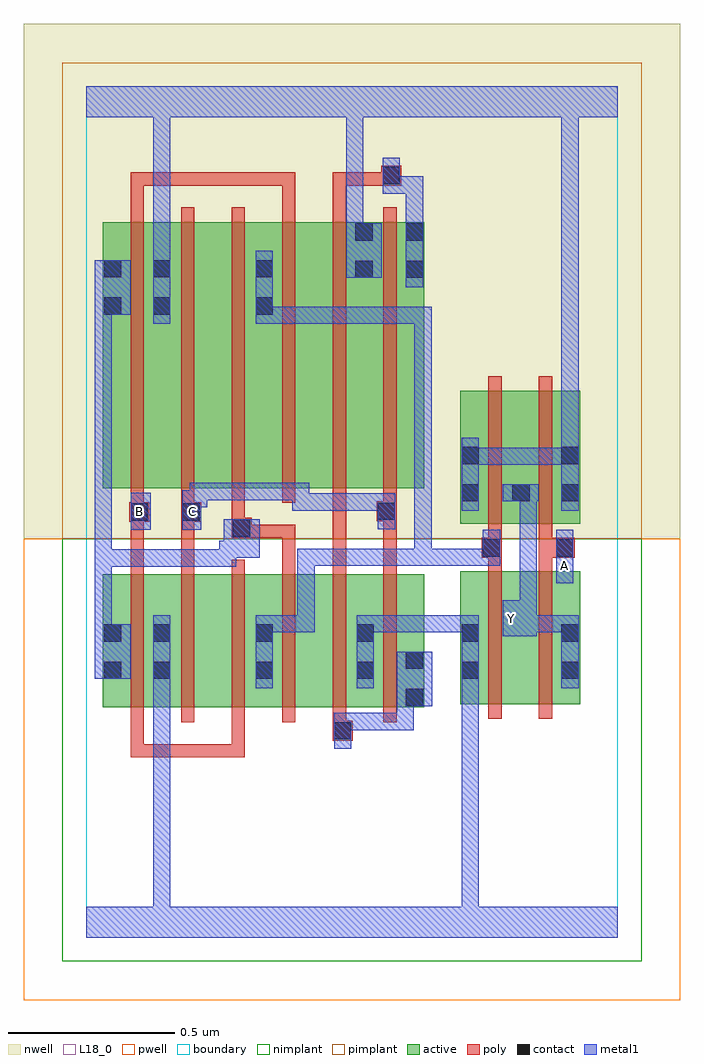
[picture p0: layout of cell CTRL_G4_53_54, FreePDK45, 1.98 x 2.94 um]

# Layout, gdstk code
import gdstk
lib = gdstk.Library(unit=1e-6, precision=1e-09)
def R(c, l, rs):  # rectangles x0, y0, x1, y1
    for r in rs: c.add(gdstk.rectangle(r[:2], r[2:], *l))
def A(c, l, x, y, w, h, nx, ny, dx, dy):  # array of equal rectangles
    R(c, l, [(x+i*dx, y+j*dy, x+i*dx+w, y+j*dy+h) for i in range(nx) for j in range(ny)])
active = (1, 0)
pwell = (2, 0)
nwell = (3, 0)
nimplant = (4, 0)
pimplant = (5, 0)
poly = (9, 0)
contact = (10, 0)
metal1 = (11, 0)
L18_0 = (18, 0)
boundary = (235, 0)

ctrl_g4_53_54 = lib.new_cell('CTRL_G4_53_54')
R(ctrl_g4_53_54, active, [(0.05,0.692,0.11,1.092), (0.05,0.692,0.258,1.092), (0.198,0.692,0.382,1.092), (0.382,0.692,0.566,1.092), (0.506,0.692,0.686,1.092), (0.506,0.692,0.566,0.946), (0.686,0.692,0.87,1.092), (0.81,0.692,0.87,1.092), (0.81,0.692,1.018,1.092), (0.958,0.692,1.018,1.092), (1.126,0.702,1.306,1.102), (1.306,0.702,1.486,1.102), (0.198,0.756,0.258,0.946), (1.126,0.756,1.186,1.102), (1.426,0.756,1.486,1.102), (1.126,1.244,1.186,1.644), (1.126,1.244,1.338,1.644), (1.278,1.244,1.338,1.644), (1.278,1.244,1.486,1.644), (1.426,1.244,1.486,1.644), (0.05,1.352,0.258,2.152), (0.05,1.352,0.11,2.044), (0.198,1.352,0.258,2.152), (0.198,1.352,0.382,2.152), (0.382,1.352,0.566,2.152), (0.506,1.352,0.566,2.152), (0.506,1.352,0.686,2.152), (0.686,1.352,0.866,2.152), (0.806,1.352,0.866,2.152), (0.806,1.352,1.018,2.152), (0.958,1.352,1.018,2.152)])
R(ctrl_g4_53_54, pwell, [(-0.188,-0.188,1.788,1.2)])
R(ctrl_g4_53_54, nwell, [(-0.188,1.2,1.788,2.748)])
R(ctrl_g4_53_54, nimplant, [(-0.072,-0.072,1.672,1.2)])
R(ctrl_g4_53_54, pimplant, [(-0.072,1.2,1.672,2.632)])
A(ctrl_g4_53_54, poly, 0.134, 0.648, 0.04, 0.488, 6, 1, 0.152, 0)
A(ctrl_g4_53_54, poly, 0.134, 1.308, 0.04, 0.888, 6, 1, 0.152, 0)
R(ctrl_g4_53_54, poly, [(0.134,0.542,0.174,0.582), (0.134,0.542,0.174,0.582), (0.134,0.542,0.174,0.582), (0.134,0.542,0.174,0.688), (0.134,0.542,0.296,0.582), (0.256,0.542,0.296,0.582), (0.256,0.542,0.478,0.582), (0.438,0.542,0.478,0.582), (0.438,0.542,0.478,0.582), (0.438,0.542,0.478,0.582), (0.438,0.542,0.478,0.688), (0.742,0.592,0.802,0.652), (0.742,0.612,0.782,0.688), (1.21,0.658,1.25,1.146), (1.362,0.658,1.402,1.146), (0.134,1.096,0.174,1.29), (0.286,1.096,0.326,1.29), (0.59,1.096,0.63,1.242), (0.742,1.096,0.782,1.172), (0.894,1.096,0.934,1.292), (1.21,1.106,1.25,1.182), (1.362,1.106,1.402,1.182), (0.742,1.132,0.782,1.172), (0.742,1.132,0.782,1.172), (0.742,1.132,0.782,1.172), (0.742,1.132,0.782,1.348), (1.19,1.142,1.25,1.202), (1.21,1.142,1.25,1.182), (1.21,1.142,1.25,1.182), (1.362,1.142,1.402,1.182), (1.362,1.142,1.402,1.182), (1.362,1.142,1.47,1.202), (1.21,1.162,1.25,1.24), (1.362,1.162,1.402,1.24), (1.21,1.2,1.25,1.688), (1.362,1.2,1.402,1.688), (0.438,1.202,0.498,1.262), (0.458,1.202,0.63,1.242), (0.59,1.202,0.63,1.242), (0.59,1.202,0.63,1.242), (0.59,1.202,0.63,1.242), (0.438,1.222,0.478,1.262), (0.438,1.222,0.478,1.262), (0.438,1.222,0.478,1.348), (0.13,1.25,0.19,1.31), (0.134,1.25,0.174,1.29), (0.134,1.25,0.174,1.29), (0.286,1.25,0.326,1.29), (0.286,1.25,0.326,1.29), (0.286,1.25,0.346,1.31), (0.874,1.252,0.934,1.312), (0.894,1.252,0.934,1.292), (0.894,1.252,0.934,1.292), (0.134,1.27,0.174,1.348), (0.286,1.27,0.326,1.348), (0.894,1.272,0.934,1.348), (0.134,2.156,0.174,2.302), (0.59,2.156,0.63,2.302), (0.742,2.156,0.782,2.302), (0.134,2.262,0.174,2.302), (0.134,2.262,0.174,2.302), (0.134,2.262,0.174,2.302), (0.134,2.262,0.296,2.302), (0.256,2.262,0.296,2.302), (0.256,2.262,0.296,2.302), (0.256,2.262,0.296,2.302), (0.256,2.262,0.402,2.302), (0.362,2.262,0.402,2.302), (0.362,2.262,0.63,2.302), (0.59,2.262,0.63,2.302), (0.59,2.262,0.63,2.302), (0.59,2.262,0.63,2.302), (0.742,2.262,0.782,2.302), (0.742,2.262,0.782,2.302), (0.742,2.262,0.782,2.302), (0.742,2.262,0.928,2.302), (0.888,2.262,0.948,2.322)])
R(ctrl_g4_53_54, contact, [(0.746,0.596,0.798,0.648), (0.962,0.696,1.014,0.748), (0.054,0.778,0.106,0.83), (0.202,0.778,0.254,0.83), (0.51,0.778,0.562,0.83), (0.814,0.778,0.866,0.83), (1.13,0.778,1.182,0.83), (1.43,0.778,1.482,0.83), (0.962,0.808,1.014,0.86), (0.054,0.89,0.106,0.942), (0.202,0.89,0.254,0.942), (0.51,0.89,0.562,0.942), (0.814,0.89,0.866,0.942), (1.13,0.89,1.182,0.942), (1.43,0.89,1.482,0.942), (1.194,1.146,1.246,1.198), (1.414,1.146,1.466,1.198), (0.442,1.206,0.494,1.258), (0.134,1.254,0.186,1.306), (0.29,1.254,0.342,1.306), (0.878,1.256,0.93,1.308), (1.13,1.312,1.182,1.364), (1.282,1.312,1.334,1.364), (1.43,1.312,1.482,1.364), (1.13,1.424,1.182,1.476), (1.43,1.424,1.482,1.476), (0.054,1.874,0.106,1.926), (0.202,1.874,0.254,1.926), (0.51,1.874,0.562,1.926), (0.81,1.984,0.862,2.036), (0.962,1.984,1.014,2.036), (0.054,1.986,0.106,2.038), (0.202,1.986,0.254,2.038), (0.51,1.986,0.562,2.038), (0.81,2.096,0.862,2.148), (0.962,2.096,1.014,2.148), (0.892,2.266,0.944,2.318)])
R(ctrl_g4_53_54, metal1, [(0,0,1.6,0.092), (0.202,0.04,0.254,0.092), (0.202,0.04,0.254,0.092), (0.202,0.04,0.254,0.092), (0.202,0.04,0.254,0.092), (0.202,0.04,0.254,0.092), (0.202,0.04,0.254,0.092), (0.202,0.04,0.254,0.092), (0.202,0.04,0.254,0.092), (0.202,0.04,0.254,0.092), (0.202,0.04,0.254,0.092), (0.202,0.04,0.254,0.72), (1.13,0.04,1.182,0.092), (1.13,0.04,1.182,0.092), (1.13,0.04,1.182,0.092), (1.13,0.04,1.182,0.092), (1.13,0.04,1.182,0.092), (1.13,0.04,1.182,0.092), (1.13,0.04,1.182,0.092), (1.13,0.04,1.182,0.092), (1.13,0.04,1.182,0.092), (1.13,0.04,1.182,0.092), (1.13,0.04,1.182,0.802), (0.746,0.568,0.798,0.676), (0.746,0.624,0.798,0.676), (0.746,0.624,0.798,0.676), (0.746,0.624,0.986,0.676), (0.934,0.624,0.986,0.676), (0.934,0.624,0.986,0.676), (0.934,0.624,0.986,0.676), (0.934,0.624,0.986,0.748), (0.202,0.668,0.254,0.72), (0.202,0.668,0.254,0.802), (0.934,0.696,1.042,0.86), (0.202,0.75,0.254,0.97), (0.51,0.75,0.562,0.97), (0.814,0.75,0.866,0.97), (1.13,0.75,1.182,0.802), (1.13,0.75,1.182,0.802), (1.13,0.75,1.182,0.97), (1.43,0.75,1.482,0.97), (0.026,0.778,0.134,0.942), (0.026,0.89,0.078,1.168), (1.254,0.906,1.356,1.014), (0.51,0.918,0.688,0.97), (0.636,0.918,0.688,0.97), (0.636,0.918,0.688,0.97), (0.636,0.918,0.688,0.97), (0.636,0.918,0.688,1.17), (0.814,0.918,1.072,0.97), (1.02,0.918,1.072,0.97), (1.02,0.918,1.072,0.97), (1.02,0.918,1.072,0.97), (1.02,0.918,1.182,0.97), (1.13,0.918,1.182,0.97), (1.13,0.918,1.182,0.97), (1.13,0.918,1.182,0.97), (1.13,0.918,1.182,0.97), (1.13,0.918,1.182,0.97), (1.13,0.918,1.182,0.97), (1.304,0.918,1.482,0.97), (1.43,0.918,1.482,0.97), (1.43,0.918,1.482,0.97), (1.43,0.918,1.482,0.97), (1.43,0.918,1.482,0.97), (1.304,0.962,1.356,1.364), (1.414,1.066,1.466,1.226), (0.026,1.116,0.078,1.168), (0.026,1.116,0.078,1.168), (0.026,1.116,0.078,1.168), (0.026,1.116,0.254,1.168), (0.026,1.116,0.078,1.926), (0.202,1.116,0.254,1.168), (0.202,1.116,0.254,1.168), (0.202,1.116,0.254,1.168), (0.202,1.116,0.452,1.168), (0.4,1.116,0.452,1.194), (0.636,1.118,0.688,1.17), (0.636,1.118,0.82,1.17), (0.768,1.118,0.82,1.17), (0.768,1.118,0.82,1.17), (0.768,1.118,0.82,1.17), (0.768,1.118,1.04,1.17), (0.988,1.118,1.04,1.17), (0.988,1.118,1.04,1.17), (0.988,1.118,1.04,1.17), (0.988,1.118,1.04,1.17), (0.988,1.118,1.04,1.17), (0.988,1.118,1.196,1.17), (0.988,1.118,1.04,1.898), (1.144,1.118,1.196,1.17), (1.144,1.118,1.246,1.17), (1.194,1.118,1.246,1.226), (0.4,1.142,0.466,1.194), (0.414,1.142,0.522,1.258), (0.134,1.226,0.194,1.338), (0.29,1.226,0.346,1.346), (0.878,1.228,0.93,1.336), (0.62,1.284,0.798,1.336), (0.62,1.284,0.672,1.368), (0.746,1.284,0.798,1.336), (0.746,1.284,0.798,1.336), (0.746,1.284,0.798,1.336), (0.746,1.284,0.93,1.336), (1.13,1.284,1.182,1.504), (1.43,1.284,1.482,1.504), (0.294,1.294,0.364,1.346), (0.312,1.294,0.364,1.368), (1.254,1.312,1.362,1.364), (1.304,1.312,1.356,1.364), (1.304,1.312,1.356,1.364), (0.312,1.316,0.562,1.368), (0.51,1.316,0.562,1.368), (0.51,1.316,0.562,1.368), (0.51,1.316,0.562,1.368), (0.51,1.316,0.672,1.368), (0.62,1.316,0.672,1.368), (0.62,1.316,0.672,1.368), (1.13,1.422,1.182,1.474), (1.13,1.422,1.182,1.474), (1.13,1.422,1.372,1.474), (1.32,1.422,1.372,1.474), (1.32,1.422,1.482,1.474), (1.43,1.422,1.482,1.474), (1.43,1.422,1.482,1.474), (1.43,1.452,1.482,1.504), (1.43,1.452,1.482,1.504), (1.43,1.452,1.482,1.504), (1.43,1.452,1.482,1.504), (1.43,1.452,1.482,1.504), (1.43,1.452,1.482,1.504), (1.43,1.452,1.482,1.504), (1.43,1.452,1.482,1.504), (1.43,1.452,1.482,1.504), (1.43,1.452,1.482,1.504), (1.43,1.452,1.482,1.504), (1.43,1.452,1.482,1.504), (1.43,1.452,1.482,1.504), (1.43,1.452,1.482,1.504), (1.43,1.452,1.482,1.504), (1.43,1.452,1.482,1.504), (1.43,1.452,1.482,2.52), (0.202,1.846,0.254,2.066), (0.51,1.846,0.562,2.066), (0.51,1.846,0.672,1.898), (0.62,1.846,0.672,1.898), (0.62,1.846,0.672,1.898), (0.62,1.846,0.672,1.898), (0.62,1.846,0.798,1.898), (0.746,1.846,0.798,1.898), (0.746,1.846,0.798,1.898), (0.746,1.846,0.798,1.898), (0.746,1.846,1.04,1.898), (0.988,1.846,1.04,1.898), (0.988,1.846,1.04,1.898), (0.988,1.846,1.04,1.898), (0.026,1.874,0.078,1.926), (0.026,1.874,0.078,1.926), (0.026,1.874,0.134,2.038), (0.962,1.956,1.014,2.176), (0.782,1.984,0.89,2.148), (0.202,2.014,0.254,2.52), (0.782,2.096,0.834,2.148), (0.782,2.096,0.834,2.148), (0.782,2.096,0.834,2.148), (0.782,2.096,0.834,2.148), (0.782,2.096,0.834,2.52), (0.962,2.124,1.014,2.29), (0.892,2.238,0.944,2.346), (0.892,2.238,1.014,2.29), (0.962,2.238,1.014,2.29), (0,2.468,1.6,2.56), (0.202,2.468,0.254,2.52), (0.202,2.468,0.254,2.52), (0.202,2.468,0.254,2.52), (0.202,2.468,0.254,2.52), (0.202,2.468,0.254,2.52), (0.202,2.468,0.254,2.52), (0.202,2.468,0.254,2.52), (0.202,2.468,0.254,2.52), (0.782,2.468,0.834,2.52), (0.782,2.468,0.834,2.52), (0.782,2.468,0.834,2.52), (0.782,2.468,0.834,2.52)])
R(ctrl_g4_53_54, L18_0, [(0,0,1.6,0.092), (0.202,0.04,0.254,0.092), (0.202,0.04,0.254,0.092), (0.202,0.04,0.254,0.092), (0.202,0.04,0.254,0.092), (0.202,0.04,0.254,0.092), (0.202,0.04,0.254,0.092), (0.202,0.04,0.254,0.092), (0.202,0.04,0.254,0.092), (0.202,0.04,0.254,0.092), (0.202,0.04,0.254,0.092), (0.202,0.04,0.254,0.72), (1.13,0.04,1.182,0.092), (1.13,0.04,1.182,0.092), (1.13,0.04,1.182,0.092), (1.13,0.04,1.182,0.092), (1.13,0.04,1.182,0.092), (1.13,0.04,1.182,0.092), (1.13,0.04,1.182,0.092), (1.13,0.04,1.182,0.092), (1.13,0.04,1.182,0.092), (1.13,0.04,1.182,0.092), (1.13,0.04,1.182,0.802), (0.202,0.668,0.254,0.72), (0.202,0.668,0.254,0.802), (0.202,0.75,0.254,0.97), (0.814,0.75,0.866,0.97), (1.13,0.75,1.182,0.802), (1.13,0.75,1.182,0.802), (1.13,0.75,1.182,0.97), (1.43,0.75,1.482,0.97), (1.254,0.906,1.356,1.014), (0.814,0.918,1.072,0.97), (1.02,0.918,1.072,0.97), (1.02,0.918,1.072,0.97), (1.02,0.918,1.072,0.97), (1.02,0.918,1.182,0.97), (1.13,0.918,1.182,0.97), (1.13,0.918,1.182,0.97), (1.13,0.918,1.182,0.97), (1.13,0.918,1.182,0.97), (1.13,0.918,1.182,0.97), (1.13,0.918,1.182,0.97), (1.304,0.918,1.482,0.97), (1.43,0.918,1.482,0.97), (1.43,0.918,1.482,0.97), (1.43,0.918,1.482,0.97), (1.43,0.918,1.482,0.97), (1.254,0.934,1.306,0.986), (1.304,0.962,1.356,1.364), (1.414,1.066,1.466,1.226), (1.414,1.094,1.466,1.146), (0.134,1.226,0.194,1.338), (0.29,1.226,0.346,1.346), (0.878,1.228,0.93,1.336), (0.134,1.254,0.186,1.306), (0.294,1.254,0.346,1.306), (0.62,1.284,0.672,1.368), (0.62,1.284,0.798,1.336), (0.746,1.284,0.798,1.336), (0.746,1.284,0.798,1.336), (0.746,1.284,0.798,1.336), (0.746,1.284,0.93,1.336), (1.13,1.284,1.182,1.504), (1.43,1.284,1.482,1.504), (0.294,1.294,0.364,1.346), (0.312,1.294,0.364,1.368), (1.254,1.312,1.362,1.364), (1.304,1.312,1.356,1.364), (1.304,1.312,1.356,1.364), (0.312,1.316,0.562,1.368), (0.51,1.316,0.562,1.368), (0.51,1.316,0.562,1.368), (0.51,1.316,0.562,1.368), (0.51,1.316,0.672,1.368), (0.62,1.316,0.672,1.368), (0.62,1.316,0.672,1.368), (1.13,1.422,1.182,1.474), (1.13,1.422,1.182,1.474), (1.13,1.422,1.372,1.474), (1.32,1.422,1.372,1.474), (1.32,1.422,1.482,1.474), (1.43,1.422,1.482,1.474), (1.43,1.422,1.482,1.474), (1.43,1.452,1.482,1.504), (1.43,1.452,1.482,1.504), (1.43,1.452,1.482,1.504), (1.43,1.452,1.482,1.504), (1.43,1.452,1.482,1.504), (1.43,1.452,1.482,1.504), (1.43,1.452,1.482,1.504), (1.43,1.452,1.482,1.504), (1.43,1.452,1.482,1.504), (1.43,1.452,1.482,1.504), (1.43,1.452,1.482,1.504), (1.43,1.452,1.482,1.504), (1.43,1.452,1.482,1.504), (1.43,1.452,1.482,1.504), (1.43,1.452,1.482,1.504), (1.43,1.452,1.482,1.504), (1.43,1.452,1.482,2.52), (0.202,1.846,0.254,2.066), (0.782,1.984,0.89,2.148), (0.202,2.014,0.254,2.52), (0.782,2.096,0.834,2.148), (0.782,2.096,0.834,2.148), (0.782,2.096,0.834,2.148), (0.782,2.096,0.834,2.148), (0.782,2.096,0.834,2.52), (0,2.468,1.6,2.56), (0.202,2.468,0.254,2.52), (0.202,2.468,0.254,2.52), (0.202,2.468,0.254,2.52), (0.202,2.468,0.254,2.52), (0.202,2.468,0.254,2.52), (0.202,2.468,0.254,2.52), (0.202,2.468,0.254,2.52), (0.202,2.468,0.254,2.52), (0.782,2.468,0.834,2.52), (0.782,2.468,0.834,2.52), (0.782,2.468,0.834,2.52), (0.782,2.468,0.834,2.52)])
R(ctrl_g4_53_54, boundary, [(0,0,1.6,2.56)])
ctrl_g4_53_54.add(gdstk.Label('A', (1.44,1.12), layer=11, texttype=0))
ctrl_g4_53_54.add(gdstk.Label('B', (0.16,1.28), layer=11, texttype=0))
ctrl_g4_53_54.add(gdstk.Label('C', (0.32,1.28), layer=11, texttype=0))
ctrl_g4_53_54.add(gdstk.Label('Y', (1.28,0.96), layer=11, texttype=0))

lib.write_gds('CTRL_G4_53_54.gds')
